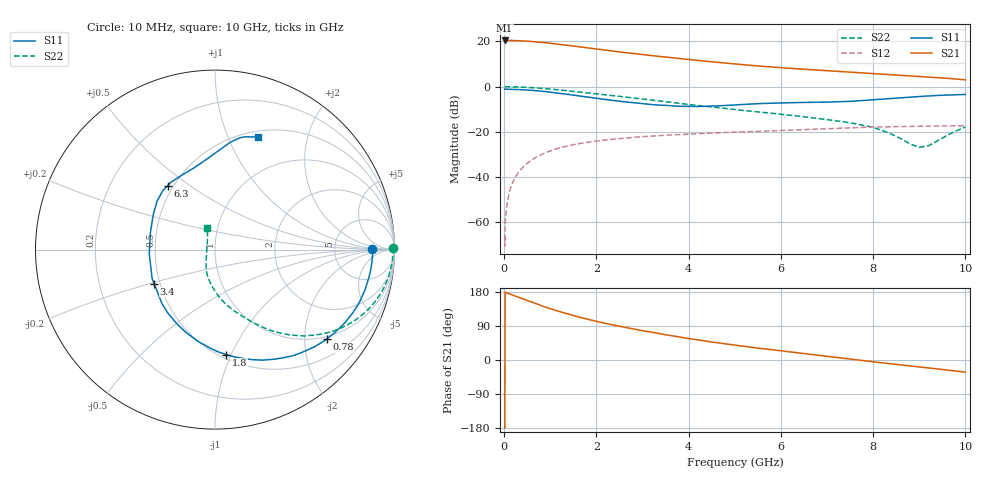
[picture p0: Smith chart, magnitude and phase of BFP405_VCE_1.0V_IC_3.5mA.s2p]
! Infineon Technologies  Discrete & RF Semiconductors
! BFP405
! VCE =  1.0 V,  IC =  3.5 mA
! Common Emitter S-Parameters:  Jan 2016
# GHz  S  MA  R  50
!  f  S11  S21  S12  S22
! GHz  MAG  ANG  MAG  ANG  MAG  ANG  MAG  ANG
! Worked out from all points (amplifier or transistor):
!   233 points, 10 MHz to 10 GHz, reference 50 ohm
!   highest |S21| = 20.4 dB at 10 MHz (marker M1)
!   |S21| within 3 dB of that: start of sweep to 1.704 GHz
!   unconditionally stable (mu >= 1): start of sweep to 15.45 MHz; 3.683 GHz to end of sweep
!   at 200 MHz: K = 0.06, MSG = 31.0 dB, |S12| = -41.7 dB
!   at 1.74 GHz: K = 0.47, MSG = 21.0 dB, |S12| = -24.8 dB
!   at 10 GHz: K = 1.55, MAG = 5.7 dB, |S12| = -17.3 dB
!   S11 on the Smith chart (normalised r, x): 10 MHz: 15, +1; 780 MHz: 0.94, -2.56; 1.8 GHz: 0.54, -0.96; 3.4 GHz: 0.46, -0.21; 6.3 GHz: 0.47, +0.41; 10 GHz: 0.56, +1.29
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0.01  0.8735 0.3  10.44 -177.1  0.0005 -51.7  0.989 0.6
0.015  0.8765 -0.3  10.42 -179.1  0.0003 59.6  0.9892 0.1
0.02  0.8796 -0.8  10.41 178.8  0.0009 90.8  0.9895 -0.3
0.08  0.8772 -4.2  10.41 176.3  0.0033 89.0  0.9907 -2.1
0.18  0.8729 -9.0  10.4 171.6  0.0074 85.7  0.9875 -4.9
0.4  0.8563 -20.1  10.24 161.3  0.0164 79.5  0.9714 -10.9
0.6  0.8294 -29.8  9.903 152.2  0.0241 74.4  0.9482 -16.2
0.78  0.7978 -38.5  9.565 144.5  0.0307 70.0  0.9207 -20.7
1  0.755 -48.8  9.074 135.3  0.0381 64.9  0.8822 -25.8
1.2  0.712 -57.9  8.599 127.8  0.0442 60.6  0.8438 -30.1
1.68  0.6115 -78.8  7.448 111.4  0.0563 51.5  0.7505 -39.0
1.8  0.5877 -84.0  7.17 107.7  0.0589 49.6  0.7282 -40.9
2.2  0.5188 -100.8  6.36 96.5  0.0664 43.8  0.6575 -46.7
2.58  0.4662 -116.5  5.702 87.0  0.0725 39.1  0.5964 -51.4
3.4  0.3884 -150.8  4.597 68.9  0.0833 30.5  0.4777 -60.8
4  0.367 -176.2  3.969 56.5  0.0897 25.2  0.404 -67.5
5.1  0.3997 148.2  3.095 37.7  0.0995 17.0  0.3043 -79.5
6.3  0.4434 126.4  2.494 20.0  0.1102 9.9  0.2274 -90.7
6.8  0.4508 117.1  2.305 12.6  0.1153 6.7  0.1983 -95.8
8.4  0.5482 88.4  1.815 -10.3  0.1301 -5.5  0.0892 -123.7
9  0.604 81.9  1.67 -18.2  0.1333 -9.9  0.0456 -177.3
10  0.6702 69.3  1.412 -32.0  0.1371 -16.3  0.1282 109.4
